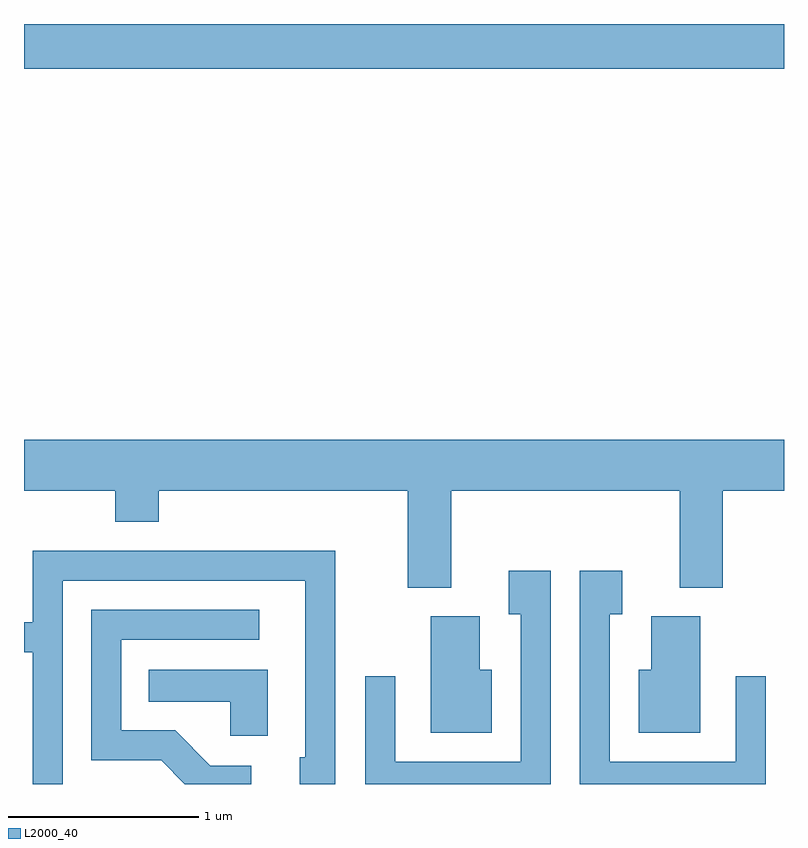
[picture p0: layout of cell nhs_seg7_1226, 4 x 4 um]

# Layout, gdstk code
import gdstk
lib = gdstk.Library(unit=1e-6, precision=1e-09)
def R(c, l, rs):  # rectangles x0, y0, x1, y1
    for r in rs: c.add(gdstk.rectangle(r[:2], r[2:], *l))
def P(c, l, *ps):  # polygons
    for p in ps: c.add(gdstk.Polygon(p, *l))
L2000_40 = (2000, 40)

nhs_seg7_1226 = lib.new_cell('nhs_seg7_1226')
R(nhs_seg7_1226, L2000_40, [(221.611,1792.016,225.611,1792.252)])
P(nhs_seg7_1226, L2000_40, [(221.611,1789.796),(222.091,1789.796),(222.091,1789.631),(222.319,1789.631),(222.319,1789.796),(223.631,1789.796),(223.631,1789.286),(223.859,1789.286),(223.859,1789.796),(225.061,1789.796),(225.061,1789.286),(225.289,1789.286),(225.289,1789.796),(225.611,1789.796),(225.611,1790.064),(221.611,1790.064)],
  [(221.814,1789.321),(223.091,1789.321),(223.091,1788.394),(223.061,1788.394),(223.061,1788.252),(223.249,1788.252),(223.249,1789.479),(221.656,1789.479),(221.656,1789.104),(221.611,1789.104),(221.611,1788.946),(221.656,1788.946),(221.656,1788.252),(221.814,1788.252)],
  [(225.514,1788.818),(225.356,1788.818),(225.356,1788.369),(224.694,1788.369),(224.694,1789.146),(224.759,1789.146),(224.759,1789.374),(224.536,1789.374),(224.536,1788.252),(225.514,1788.252)],
  [(224.384,1789.374),(224.161,1789.374),(224.161,1789.146),(224.226,1789.146),(224.226,1788.369),(223.564,1788.369),(223.564,1788.818),(223.406,1788.818),(223.406,1788.252),(224.384,1788.252)],
  [(222.808,1788.349),(222.592,1788.349),(222.407,1788.534),(222.124,1788.534),(222.124,1789.011),(222.848,1789.011),(222.848,1789.169),(221.966,1789.169),(221.966,1788.376),(222.334,1788.376),(222.458,1788.252),(222.808,1788.252)],
  [(224.074,1788.854),(224.009,1788.854),(224.009,1789.134),(223.751,1789.134),(223.751,1788.521),(224.074,1788.521)],
  [(225.169,1789.134),(224.911,1789.134),(224.911,1788.854),(224.846,1788.854),(224.846,1788.521),(225.169,1788.521)],
  [(222.894,1788.854),(222.268,1788.854),(222.268,1788.686),(222.696,1788.686),(222.696,1788.506),(222.894,1788.506)])

lib.write_gds('nhs_seg7_1226.gds')
